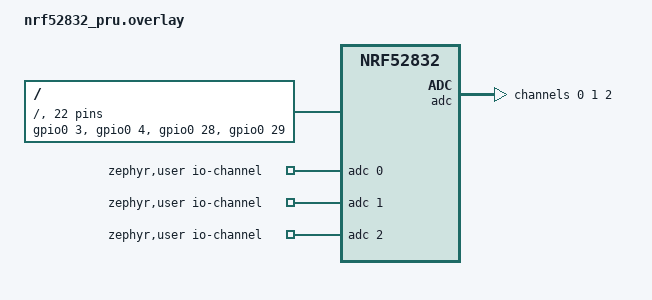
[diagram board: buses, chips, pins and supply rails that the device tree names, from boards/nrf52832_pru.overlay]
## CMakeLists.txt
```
# SPDX-License-Identifier: Apache-2.0

cmake_minimum_required(VERSION 3.20.0)
find_package(Zephyr REQUIRED HINTS $ENV{ZEPHYR_BASE})
project(ibeacon)

target_sources(app PRIVATE src/main.c)

if(IBEACON_RSSI)
  zephyr_compile_definitions(IBEACON_RSSI=${IBEACON_RSSI})
endif()

# NORDIC SDK APP START
target_sources(app PRIVATE src/advertisement/advertisement.c)
target_sources(app PRIVATE src/adc_update/adc_update.c)
target_sources(app PRIVATE src/state_machine/state_machine.c)
target_sources(app PRIVATE src/gpio_control/gpio_control.c)
# NORDIC SDK APP END
```

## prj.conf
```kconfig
CONFIG_BT=y
CONFIG_BT_DEBUG_LOG=y

# Enable Dynamic name modification
CONFIG_BT_DEVICE_NAME_DYNAMIC=y
# Maximum chcaracter of the device name
# (Range: 2 to 248)
CONFIG_BT_DEVICE_NAME_MAX=30


# *** ADDED from ADC example *** #
CONFIG_ADC=y


CONFIG_PWM=y


# *** ADDED from system off example *** #
CONFIG_PM=y
# Required to disable default behavior of deep sleep on timeout
CONFIG_PM_DEVICE=y
CONFIG_GPIO=y
# Optional select RAM retention (nRF52 only)
#CONFIG_APP_RETENTION=y
CONFIG_CRC=y

# Disable SMPS (external inductors not soldered)
CONFIG_BOARD_ENABLE_DCDC=n
# Use internal 32k oscillator
#CONFIG_CLOCK_CONTROL_NRF_K32SRC_RC=y
```

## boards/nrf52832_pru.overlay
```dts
// To get started, press Ctrl+Space to bring up the completion menu and view the available nodes.

// You can also use the buttons in the sidebar to perform actions on nodes.
// Actions currently available include:

// * Enabling / disabling the node
// * Adding the bus to a bus
// * Removing the node
// * Connecting ADC channels

// For more help, browse the DeviceTree documentation at https://docs.zephyrproject.org/latest/guides/dts/index.html
// You can also visit the nRF DeviceTree extension documentation at https://nrfconnect.github.io/vscode-nrf-connect/devicetree/nrfdevicetree.html

/ {
	zephyr,user {
		io-channels = <&adc 0>, <&adc 1>, <&adc 2>;// <&adc 7>;
	};

	gpio-map = <0 0 &gpio0 3 0>,
			   <1 0 &gpio0 4 0>,
			   <2 0 &gpio0 28 0>,
			   <3 0 &gpio0 29 0>,
			   <4 0 &gpio0 30 0>,
			   <5 0 &gpio0 31 0>,
			   <6 0 &gpio0 11 0>,
			   <7 0 &gpio0 12 0>,
			   <8 0 &gpio0 13 0>,
			   <9 0 &gpio0 14 0>,
			   <10 0 &gpio0 15 0>,
			   <11 0 &gpio0 16 0>,
			   <12 0 &gpio0 17 0>,
			   <13 0 &gpio0 18 0>,
			   <14 0 &gpio0 19 0>,
			   <15 0 &gpio0 20 0>,
			   <16 0 &gpio0 22 0>,
			   <17 0 &gpio0 23 0>,
			   <18 0 &gpio0 24 0>,
			   <19 0 &gpio0 25 0>,
			   <20 0 &gpio0 26 0>,
			   <21 0 &gpio0 27 0>;
	io-channel-map = <0 &adc 1>, <1 &adc 2>, <2 &adc 4>, <3 &adc 5>, <4 &adc 6>, <5 &adc 7>;
};

&adc {
	#address-cells = <1>;
	#size-cells = <0>;

	channel@0 {
		reg = <0>;
		zephyr,gain = "ADC_GAIN_1_6";
		zephyr,reference = "ADC_REF_INTERNAL";
		zephyr,acquisition-time = <ADC_ACQ_TIME_DEFAULT>;
		zephyr,input-positive = <NRF_SAADC_AIN0>; /* P0.03 */
		zephyr,resolution = <12>;
	};

	channel@1 {
		reg = <1>;
		zephyr,gain = "ADC_GAIN_1_6";
		zephyr,reference = "ADC_REF_INTERNAL";
		zephyr,acquisition-time = <ADC_ACQ_TIME_DEFAULT>;
		zephyr,input-positive = <NRF_SAADC_AIN1>; /* P0.04 */
		zephyr,resolution = <12>;
	};

	channel@2 {
		reg = <2>;
		zephyr,gain = "ADC_GAIN_1_2";
		zephyr,reference = "ADC_REF_INTERNAL";
		zephyr,acquisition-time = <ADC_ACQ_TIME_DEFAULT>;
		zephyr,input-positive = <NRF_SAADC_AIN2>; /* P0.05 */
		zephyr,resolution = <12>;
		zephyr,oversampling = <4>; // Filtering noise
	};

// 	channel@1 {
// 		reg = <1>;
// 		zephyr,gain = "ADC_GAIN_1_6";
// 		zephyr,reference = "ADC_REF_INTERNAL";
// 		zephyr,acquisition-time = <ADC_ACQ_TIME_DEFAULT>;
// 		zephyr,input-positive = <NRF_SAADC_VDD>;
// 		zephyr,resolution = <14>;
// 		zephyr,oversampling = <8>;
// 	};

// 	channel@7 {
// 		reg = <7>;
// 		zephyr,gain = "ADC_GAIN_1_5";
// 		zephyr,reference = "ADC_REF_VDD_1_4";
// 		zephyr,vref-mv = <750>;
// 		zephyr,acquisition-time = <ADC_ACQ_TIME_DEFAULT>;
// 		zephyr,input-positive = <NRF_SAADC_AIN6>; /* P0.30 */
// 		zephyr,input-negative = <NRF_SAADC_AIN7>; /* P0.31 */
// 		zephyr,resolution = <12>;
// 	};
};
```

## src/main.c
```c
/*  ____  ____      _    __  __  ____ ___
 * |  _ \|  _ \    / \  |  \/  |/ ___/ _ \
 * | | | | |_) |  / _ \ | |\/| | |  | | | |
 * | |_| |  _ <  / ___ \| |  | | |__| |_| |
 * |____/|_| \_\/_/   \_\_|  |_|\____\___/
 *                           research group
 *                             dramco.be/
 *
 *  KU Leuven - Technology Campus Gent,
 *  Gebroeders De Smetstraat 1,
 *  B-9000 Gent, Belgium
 *
 *         File: main.c
 *      Created: 2023-06-30
 *       Author: Jarne Van Mulders
 *      Version: major.minor
 *
 *  Description: wpt-receiver
 *      IoT node & wpt receiver
 *
 *  Commissiond by PhD
 */

#include <inttypes.h>
#include <stddef.h>
#include <stdint.h>

// #include <zephyr/types.h>
// #include <zephyr/sys/printk.h>
// #include <zephyr/sys/util.h>
// #include <zephyr/kernel.h>
// #include <zephyr/device.h>
// #include <zephyr/drivers/gpio.h>
// #include <zephyr/sys/__assert.h>
// #include <string.h>

// // // ADC includes
// #include <zephyr/devicetree.h>
// #include <zephyr/drivers/adc.h>

// SLEEP includes
// #include <stdio.h>
// #include <zephyr/init.h>
// #include <zephyr/pm/pm.h>
// #include <zephyr/pm/device.h>
// #include <zephyr/pm/policy.h>
// #include <soc.h>
// #include <hal/nrf_gpio.h>

/* Custom libs include */
#include "advertisement/advertisement.h"
#include "adc_update/adc_update.h"
#include "state_machine/state_machine.h"
#include "gpio_control/gpio_control.h"


/* size of stack area used by each thread */
#define STACKSIZE 1024

/* scheduling priority used by each thread */
#define ADV_PRIORITY 7
#define ADC_PRIORITY 8


// *** START THREADS *** //
K_THREAD_DEFINE(start_adv_id, STACKSIZE, adv_start, NULL, NULL, NULL, ADV_PRIORITY, 0, 0);
K_THREAD_DEFINE(start_adc_read_id, STACKSIZE, adc_read_start, NULL, NULL, NULL, ADC_PRIORITY, 0, 0);
K_THREAD_DEFINE(start_sm_id, STACKSIZE, sm_start, NULL, NULL, NULL, 6, 0, 0);
K_THREAD_DEFINE(led_blink_id, STACKSIZE, led_blink_start, NULL, NULL, NULL, 9, 0, 0);


// General error
int err;


// *** MAIN *** //
int main(void)
{
	// Start
	printk("Start firmware\n");

	// *** SETUP FUNCTIONS *** //
	// gpio_pin_configure_dt(&led, GPIO_OUTPUT_INACTIVE);			// Default LED off
	// gpio_pin_configure_dt(&ls_en_2, GPIO_OUTPUT_INACTIVE);		// Default load switch disabled (no leakage current to charger circuit)
	// gpio_pin_configure_dt(&pg, GPIO_OUTPUT_INACTIVE);			// Default voltage WPT receiver blocked
	// gpio_pin_configure_dt(&buck_en, GPIO_OUTPUT_INACTIVE);		// 
	// gpio_pin_configure_dt(&sens_en, GPIO_OUTPUT_INACTIVE);		// 

	setup_pins();

	// gpio_pin_set_dt(&sens_en, 0);

	// K_SYSCALL_LED_BLINK

	// led_set_brightness(&led_pin, &led_pin, 0);


	// *** Configure to generate PORT event (wakeup) on button 1 press. *** //
	// !!! >>>usrbutton0<<< NEED TO BE CHANGED TO >>>wakeup1<<< !!! //
	nrf_gpio_cfg_input(NRF_DT_GPIOS_TO_PSEL(DT_ALIAS(wakeup1), gpios), NRF_GPIO_PIN_PULLDOWN);
	nrf_gpio_cfg_sense_set(NRF_DT_GPIOS_TO_PSEL(DT_ALIAS(wakeup1), gpios), NRF_GPIO_PIN_SENSE_HIGH);
	nrf_gpio_cfg_input(NRF_DT_GPIOS_TO_PSEL(DT_ALIAS(usrbutton0), gpios), NRF_GPIO_PIN_PULLUP);
	nrf_gpio_cfg_sense_set(NRF_DT_GPIOS_TO_PSEL(DT_ALIAS(usrbutton0), gpios), NRF_GPIO_PIN_SENSE_LOW);

	// *** To read supply voltage, load switch 2 should be enabled. ***
	// gpio_pin_set_dt(&ls_en_2, 1);

	// gpio_pin_set_dt(&pg, 1);

	// gpio_pin_set_dt(&buck_en, 1);


	// *** MAIN LOOP *** //
	while(1){

		// Print readed values
		printk("--------------------------------------------\n");
		printk("input_voltage_mv: %"PRId32" mV\n", input_voltage_mv);
		printk("supply_voltage_mv: %"PRId32" mV\n", supply_voltage_mv);
		printk("buck_current_ma: %"PRId32" mA\n", buck_current_ma);
		printk("Current state = %d \n", current_state);
		// printk("Pulse value = %d \n", pulse_width_value);

		k_msleep(1000);

		// pin_toggle(&led_pin);

		// change_pwm_pulse_size(2);

		// k_msleep(3000);

		// change_pwm_pulse_size(100);

		// pin_set(&ls_en_1_pin);
		// pin_set(&ls_en_2_pin);

		// k_msleep(3000);

		// pin_reset(&ls_en_1_pin);
		// pin_reset(&ls_en_2_pin);

	}

	return 0;
}
```
